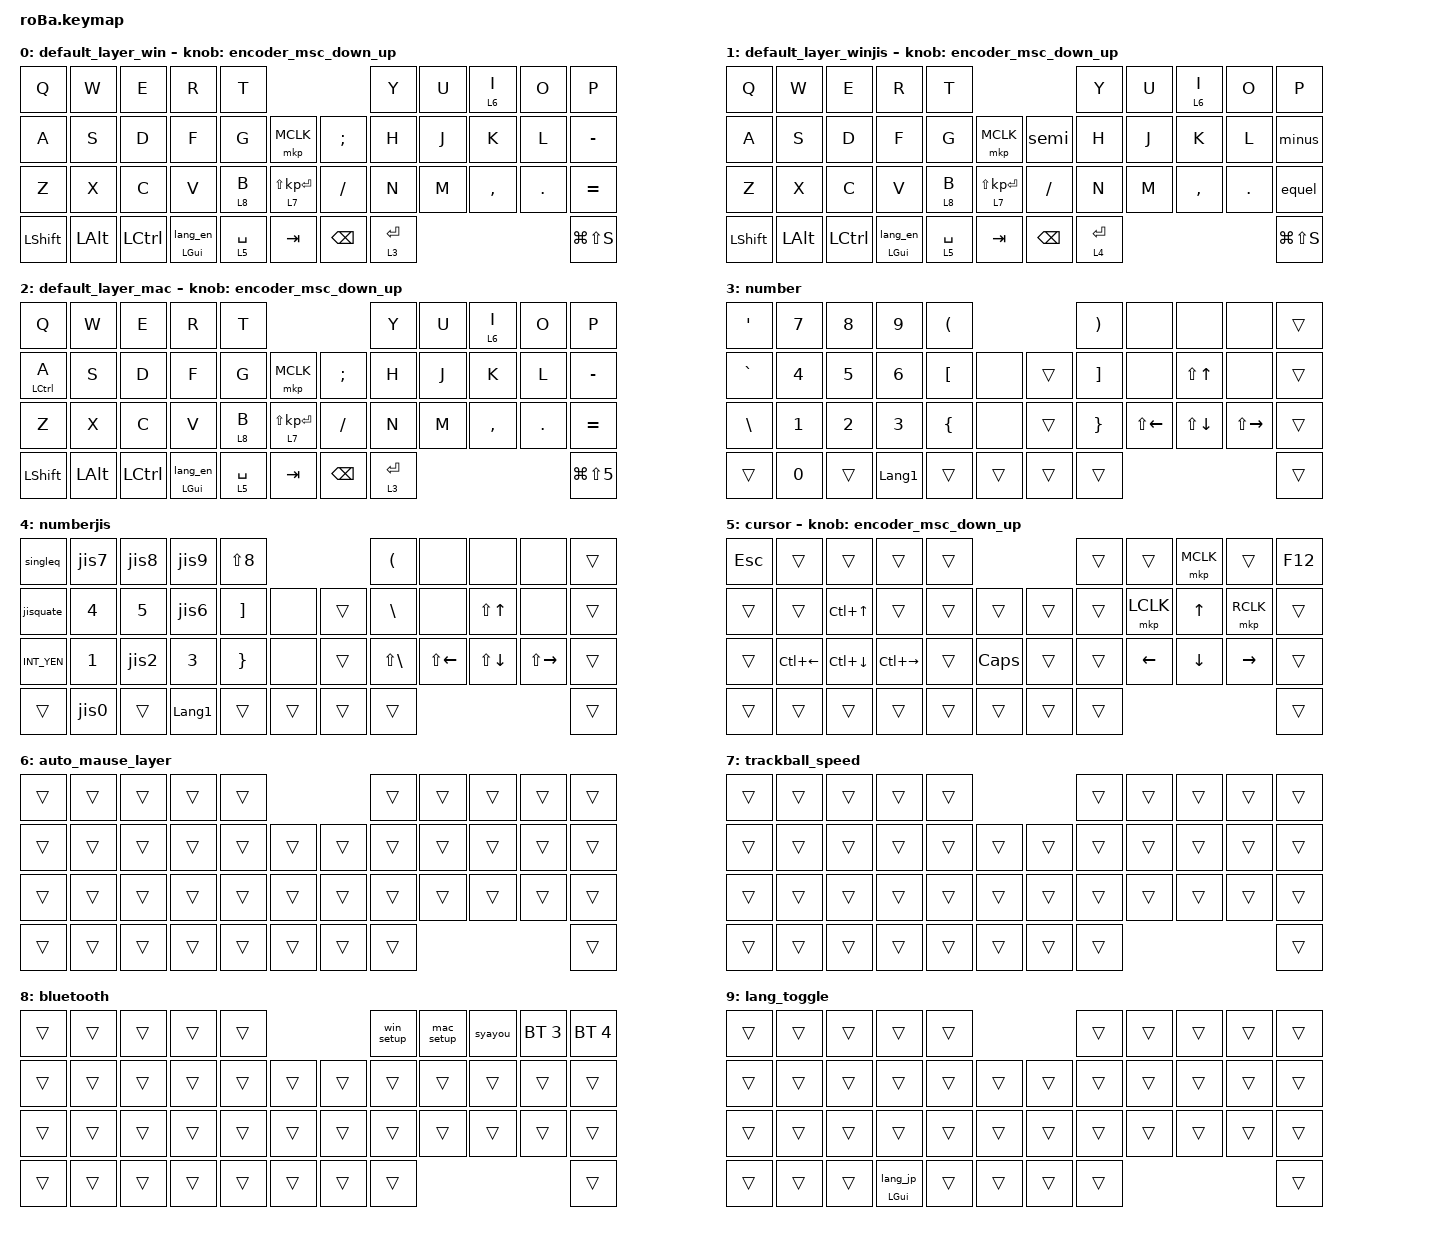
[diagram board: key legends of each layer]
#include <input/processors.dtsi>
#include <behaviors.dtsi>
#include <dt-bindings/zmk/bt.h>
#include <dt-bindings/zmk/keys.h>
#include <dt-bindings/zmk/pointing.h>

#define ZMK_POINTING_DEFAULT_SCRL_VAL 80

&mt {
    flavor = "balanced";
    quick-tap-ms = <0>;
};

&trackball {
    automouse-layer = <5>;
    scroll-layers = <6>;
};

&mkp_input_listener { input-processors = <&zip_temp_layer 5 250>; };

/ {
    combos {
        compatible = "zmk,combos";

        res {
            bindings = <&bt BT_CLR_ALL>;
            key-positions = <0 35 2 7 9 32>;
        };
    };

    behaviors {
        encoder_msc_up_down: encoder_msc_up_down {
            compatible = "zmk,behavior-sensor-rotate";
            label = "ENCODER_MSC_UP_DOWN";
            #sensor-binding-cells = <0>;
            bindings = <&msc SCRL_UP>, <&msc SCRL_DOWN>;

            tap-ms = <20>;
        };

        encoder_msc_down_up: encoder_msc_down_up {
            compatible = "zmk,behavior-sensor-rotate";
            label = "ENCODER_MSC_DOWN_UP";
            #sensor-binding-cells = <0>;
            bindings = <&msc SCRL_DOWN>, <&msc SCRL_UP>;

            tap-ms = <20>;
        };

        st: scroll_tap {
            compatible = "zmk,behavior-hold-tap";
            label = "Scroll / Tap";
            bindings = <&mo>, <&kp>;

            #binding-cells = <2>;
            tapping-term-ms = <200>;
            flavor = "balanced";
            hold-while-undecided;
        };

        win_lang: win_lang {
            compatible = "zmk,behavior-hold-tap";
            label = "WIN_LANG";
            bindings = <&kp>, <&lang_en>;

            #binding-cells = <2>;
            tapping-term-ms = <200>;
            flavor = "balanced";
            quick-tap-ms = <0>;
        };

        win_lang2: win_lang2 {
            compatible = "zmk,behavior-hold-tap";
            label = "WIN_LANG2";
            bindings = <&kp>, <&lang_jp>;

            #binding-cells = <2>;
            tapping-term-ms = <200>;
            flavor = "balanced";
            quick-tap-ms = <0>;
        };

        semi: semi {
            compatible = "zmk,behavior-mod-morph";
            label = "SEMI";
            bindings = <&kp SEMI>, <&kp SINGLE_QUOTE>;

            #binding-cells = <0>;
            mods = <(MOD_LSFT)>;
        };

        minus: minus {
            compatible = "zmk,behavior-mod-morph";
            label = "MINUS";
            bindings = <&kp MINUS>, <&kp LS(INT1)>;

            #binding-cells = <0>;
            mods = <(MOD_LSFT)>;
        };

        equel: equel {
            compatible = "zmk,behavior-mod-morph";
            label = "EQUEL";
            bindings = <&kp LS(MINUS)>, <&kp LS(SEMI)>;

            #binding-cells = <0>;
            mods = <(MOD_LSFT)>;
        };

        singleq: singleq {
            compatible = "zmk,behavior-mod-morph";
            label = "SINGLEQ";
            bindings = <&kp LS(N7)>, <&kp LS(N2)>;

            #binding-cells = <0>;
            mods = <(MOD_LSFT)>;
        };

        jis0: jis0 {
            compatible = "zmk,behavior-mod-morph";
            label = "JIS0";
            bindings = <&kp N0>, <&kp LS(N9)>;

            #binding-cells = <0>;
            mods = <(MOD_LSFT)>;
        };

        jis2: jis2 {
            compatible = "zmk,behavior-mod-morph";
            label = "JIS2";
            bindings = <&kp N2>, <&kp LBKT>;

            #binding-cells = <0>;
            mods = <(MOD_LSFT)>;
        };

        jis6: jis6 {
            compatible = "zmk,behavior-mod-morph";
            label = "JIS6";
            bindings = <&kp N6>, <&kp EQUAL>;

            #binding-cells = <0>;
            mods = <(MOD_LSFT)>;
        };

        jis7: jis7 {
            compatible = "zmk,behavior-mod-morph";
            label = "JIS7";
            bindings = <&kp N7>, <&kp LS(N6)>;

            #binding-cells = <0>;
            mods = <(MOD_LSFT)>;
        };

        jis8: jis8 {
            compatible = "zmk,behavior-mod-morph";
            label = "JIS8";
            bindings = <&kp N8>, <&kp LS(SINGLE_QUOTE)>;

            #binding-cells = <0>;
            mods = <(MOD_LSFT)>;
        };

        jis9: jis9 {
            compatible = "zmk,behavior-mod-morph";
            label = "JIS9";
            bindings = <&kp N9>, <&kp LS(N8)>;

            #binding-cells = <0>;
            mods = <(MOD_LSFT)>;
        };

        jisquate: jisquate {
            compatible = "zmk,behavior-mod-morph";
            label = "JISQUATE";
            bindings = <&kp LBRC>, <&kp LS(EQUAL)>;

            #binding-cells = <0>;
            mods = <(MOD_LSFT)>;
        };
    };

    macros {
        lang_en: lang_en {
            compatible = "zmk,behavior-macro";
            #binding-cells = <0>;
            bindings = <&kp LANGUAGE_2 &tog 9>;
            label = "LANG_EN";
        };

        lang_jp: lang_jp {
            compatible = "zmk,behavior-macro";
            #binding-cells = <0>;
            bindings = <&kp LANGUAGE_1 &tog 9>;
            label = "LANG_JP";
        };

        mac_setup: osx_setup {
            compatible = "zmk,behavior-macro";
            #binding-cells = <0>;
            bindings = <&bt BT_SEL 1 &to 2>;
            label = "OSX_SETUP";
        };

        win_setup: win_setup {
            compatible = "zmk,behavior-macro";
            #binding-cells = <0>;
            bindings = <&bt BT_SEL 0 &to 0>;
            label = "WIN_SETUP";
        };

        syayou: new_macro {
            compatible = "zmk,behavior-macro";
            #binding-cells = <0>;
            bindings = <&bt BT_SEL 2 &to 1>;
            label = "NEW_MACRO";
        };

        ipad: ipad {
            compatible = "zmk,behavior-macro";
            #binding-cells = <0>;
            bindings = <&bt BT_SEL 3 &to 2>;
            label = "IPAD";
        };
    };

    keymap {
        compatible = "zmk,keymap";

        default_layer_win {
            bindings = <
&kp Q           &kp W         &kp E             &kp R                    &kp T                                               &kp Y        &kp U  &st 6 I    &kp O    &kp P
&kp A           &kp S         &kp D             &kp F                    &kp G        &mkp MCLK               &kp SEMICOLON  &kp H        &kp J  &kp K      &kp L    &kp MINUS
&kp Z           &kp X         &kp C             &kp V                    &lt 8 B      &lt 7 LS(KP_ENTER)      &kp SLASH      &kp N        &kp M  &kp COMMA  &kp DOT  &kp EQUAL
&kp LEFT_SHIFT  &kp LEFT_ALT  &kp LEFT_CONTROL  &win_lang LEFT_GUI 0  &lt 5 SPACE  &kp TAB                 &kp BACKSPACE  &lt 3 ENTER                             &kp LG(LS(S))
            >;

            sensor-bindings = <&encoder_msc_down_up>;
        };

        default_layer_winjis {
            bindings = <
&kp Q           &kp W         &kp E             &kp R                    &kp T                                               &kp Y        &kp U  &st 6 I    &kp O    &kp P
&kp A           &kp S         &kp D             &kp F                    &kp G        &mkp MCLK               &semi          &kp H        &kp J  &kp K      &kp L    &minus
&kp Z           &kp X         &kp C             &kp V                    &lt 8 B      &lt 7 LS(KP_ENTER)      &kp SLASH      &kp N        &kp M  &kp COMMA  &kp DOT  &equel
&kp LEFT_SHIFT  &kp LEFT_ALT  &kp LEFT_CONTROL  &win_lang LEFT_GUI 0  &lt 5 SPACE  &kp TAB                 &kp BACKSPACE  &lt 4 ENTER                             &kp LG(LS(S))
            >;

            sensor-bindings = <&encoder_msc_down_up>;
        };

        default_layer_mac {
            bindings = <
&kp Q           &kp W         &kp E             &kp R                    &kp T                                               &kp Y        &kp U  &st 6 I    &kp O    &kp P
&mt LCTRL A     &kp S         &kp D             &kp F                    &kp G        &mkp MCLK               &kp SEMICOLON  &kp H        &kp J  &kp K      &kp L    &kp MINUS
&kp Z           &kp X         &kp C             &kp V                    &lt 8 B      &lt 7 LS(KP_ENTER)      &kp SLASH      &kp N        &kp M  &kp COMMA  &kp DOT  &kp EQUAL
&kp LEFT_SHIFT  &kp LEFT_ALT  &kp LEFT_CONTROL  &win_lang LEFT_GUI 0  &lt 5 SPACE  &kp TAB                 &kp BACKSPACE  &lt 3 ENTER                             &kp LG(LS(N5))
            >;

            sensor-bindings = <&encoder_msc_down_up>;
        };

        number {
            bindings = <
&kp SQT        &kp N7        &kp N8        &kp N9          &kp LEFT_PARENTHESIS                      &kp RIGHT_PARENTHESIS  &none               &none               &none                &trans
&kp GRAVE      &kp NUMBER_4  &kp N5        &kp NUMBER_6    &kp LEFT_BRACKET      &none       &trans  &kp RIGHT_BRACKET      &none               &kp LS(UP_ARROW)    &none                &trans
&kp BACKSLASH  &kp NUMBER_1  &kp NUMBER_2  &kp NUMBER_3    &kp LEFT_BRACE        &none       &trans  &kp RIGHT_BRACE        &kp LS(LEFT_ARROW)  &kp LS(DOWN_ARROW)  &kp LS(RIGHT_ARROW)  &trans
&trans         &kp N0        &trans        &kp LANGUAGE_1  &trans                &trans      &trans  &trans                                                                              &trans
            >;
        };

        numberjis {
            bindings = <
&singleq     &jis7         &jis8   &jis9           &kp LS(N8)                           &kp LPAR      &none               &none               &none                &trans
&jisquate    &kp NUMBER_4  &kp N5  &jis6           &kp RBKT         &none       &trans  &kp BSLH      &none               &kp LS(UP_ARROW)    &none                &trans
&kp INT_YEN  &kp NUMBER_1  &jis2   &kp NUMBER_3    &kp RIGHT_BRACE  &none       &trans  &kp LS(BSLH)  &kp LS(LEFT_ARROW)  &kp LS(DOWN_ARROW)  &kp LS(RIGHT_ARROW)  &trans
&trans       &jis0         &trans  &kp LANGUAGE_1  &trans           &trans      &trans  &trans                                                                     &trans
            >;
        };

        cursor {
            bindings = <
&kp ESCAPE  &trans              &trans            &trans         &trans                            &trans  &trans     &mkp MCLK       &trans     &kp F12
&trans      &trans              &kp LC(UP_ARROW)  &trans         &trans  &trans            &trans  &trans  &mkp LCLK  &kp UP_ARROW    &mkp RCLK  &trans
&trans      &kp LC(LEFT_ARROW)  &kp LC(DOWN)      &kp LC(RIGHT)  &trans  &kp CAPSLOCK      &trans  &trans  &kp LEFT   &kp DOWN_ARROW  &kp RIGHT  &trans
&trans      &trans              &trans            &trans         &trans  &trans            &trans  &trans                                        &trans
            >;

            sensor-bindings = <&encoder_msc_down_up>;
        };

        auto_mause_layer {
            bindings = <
&trans  &trans  &trans  &trans  &trans                      &trans  &trans  &trans  &trans  &trans
&trans  &trans  &trans  &trans  &trans  &trans      &trans  &trans  &trans  &trans  &trans  &trans
&trans  &trans  &trans  &trans  &trans  &trans      &trans  &trans  &trans  &trans  &trans  &trans
&trans  &trans  &trans  &trans  &trans  &trans      &trans  &trans                          &trans
            >;
        };

        trackball_speed {
            bindings = <
&trans  &trans  &trans  &trans  &trans                      &trans  &trans  &trans  &trans  &trans
&trans  &trans  &trans  &trans  &trans  &trans      &trans  &trans  &trans  &trans  &trans  &trans
&trans  &trans  &trans  &trans  &trans  &trans      &trans  &trans  &trans  &trans  &trans  &trans
&trans  &trans  &trans  &trans  &trans  &trans      &trans  &trans                          &trans
            >;
        };

        bluetooth {
            bindings = <
&trans  &trans  &trans  &trans  &trans                      &win_setup  &mac_setup  &syayou  &bt BT_SEL 3  &bt BT_SEL 4
&trans  &trans  &trans  &trans  &trans  &trans      &trans  &trans      &trans      &trans   &trans        &trans
&trans  &trans  &trans  &trans  &trans  &trans      &trans  &trans      &trans      &trans   &trans        &trans
&trans  &trans  &trans  &trans  &trans  &trans      &trans  &trans                                         &trans
            >;
        };

        lang_toggle {
            bindings = <
&trans  &trans  &trans  &trans                &trans                      &trans  &trans  &trans  &trans  &trans
&trans  &trans  &trans  &trans                &trans  &trans      &trans  &trans  &trans  &trans  &trans  &trans
&trans  &trans  &trans  &trans                &trans  &trans      &trans  &trans  &trans  &trans  &trans  &trans
&trans  &trans  &trans  &win_lang2 LEFT_GUI 0  &trans  &trans      &trans  &trans                          &trans
            >;
        };
    };
};
